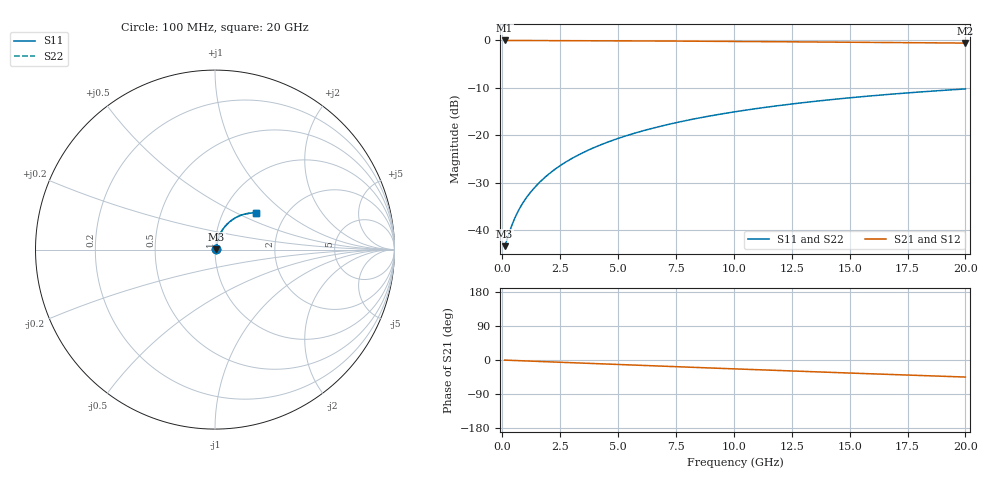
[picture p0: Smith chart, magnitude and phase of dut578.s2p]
! Touchstone file exported from HFSS 2026.1.0
!  File:  C:/ffzhzh/LocalFiles/Ansys_Project_Files/temp_train_TMRDL_578_1783008203_53980.aedt
!  Generated:  12:04:41 AM Jul  3, 2026
!  Design:  TMRDL
!  Project:  temp_train_TMRDL_578_1783008203_53980
! Variables:
!  h_bsmrdl = 2um
!  h_ox = 20um
!  h_rdl = 5um
!  h_sub = 80um
!  h_tmrdl = 2.86um
!  h_tsv = 80um
!  h_via = 3um
!  l_bsmrdl = 300um
!  l_sub = 1142.96um
!  l_tmrdl = 742.96um
!  m_sub = 200um
!  pitch = 25.32um
!  r_tsv = 6um
!  s_tmrdl = 10um
!  w_bsmrdl = 18um
!  w_sub = 500um
!  w_tmrdl = 14.48um
!  x_tsv_center1 = 750.2um
!  x_tsv_center2 = 1068.2um
!  x_tsv_center3 = 1825.64um
!  x_tsv_center4 = 2143.64um
!  x_tsv_center5 = 2901.08um
!  x_tsv_center6 = 3219.08um
# GHz S MA R 50.000000
! Terminal data exported
! Port[1] = TM_RDL1_1_T1
! Port[2] = TM_RDL1_1_T2
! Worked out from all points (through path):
!   200 points, 100 MHz to 20 GHz, reference 50 ohm
!   highest |S21| = -0.06 dB at 100 MHz (marker M1); lowest = -0.6 dB at 20 GHz (marker M2)
!   group delay of S21, straight-line fit = 6.25 ps
!   lowest |S11| = -43.3 dB at 100 MHz (marker M3), VSWR 1.01, Z = 50.6 + j0.223 ohm
!   |S11| at or under -10 dB: start of sweep to end of sweep
!   |S22| runs from -43.3 to -10.3 dB; largest |S21 - S12| = 4e-15
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0.1  0.006808 18.8  0.9936 -0.3  0.9936 -0.3  0.006808 18.8
! Gamma 0 0 0 0
! Port Impedance 50 0 50 0
0.2  0.007926 33.3  0.9934 -0.5  0.9934 -0.5  0.007926 33.3
0.4  0.01106 49.4  0.9929 -1.0  0.9929 -1.0  0.01106 49.4
0.6  0.01445 57.3  0.9924 -1.5  0.9924 -1.5  0.01445 57.3
0.7  0.01616 59.9  0.9922 -1.7  0.9922 -1.7  0.01616 59.9
0.9  0.01958 63.8  0.9919 -2.2  0.9919 -2.2  0.01959 63.8
1.1  0.02303 66.5  0.9916 -2.7  0.9916 -2.7  0.02303 66.5
1.3  0.02651 68.5  0.9913 -3.2  0.9913 -3.2  0.02652 68.5
1.8  0.03534 71.5  0.9908 -4.3  0.9908 -4.3  0.03535 71.5
2.3  0.04429 72.9  0.9902 -5.5  0.9902 -5.5  0.0443 72.9
2.9  0.05509 73.5  0.9894 -6.9  0.9894 -6.9  0.0551 73.5
3.5  0.06589 73.4  0.9884 -8.4  0.9884 -8.4  0.06589 73.3
4.2  0.07842 72.8  0.9871 -10.0  0.9871 -10.0  0.07843 72.7
5  0.0926 71.7  0.9854 -11.9  0.9854 -11.9  0.09261 71.7
5.9  0.1083 70.2  0.9832 -14.0  0.9832 -14.0  0.1083 70.2
6.8  0.1238 68.6  0.9807 -16.1  0.9807 -16.1  0.1238 68.5
8.3  0.1487 65.6  0.9762 -19.5  0.9762 -19.5  0.1488 65.5
10.1  0.1774 61.9  0.9701 -23.6  0.9701 -23.6  0.1775 61.8
11.7  0.2016 58.6  0.9643 -27.2  0.9643 -27.2  0.2017 58.5
13.4  0.226 55.1  0.9579 -30.9  0.9579 -30.9  0.2261 54.9
16.7  0.2693 48.3  0.9451 -38.1  0.9451 -38.1  0.2694 48.1
20  0.3071 41.7  0.9325 -45.0  0.9325 -45.0  0.3072 41.4
